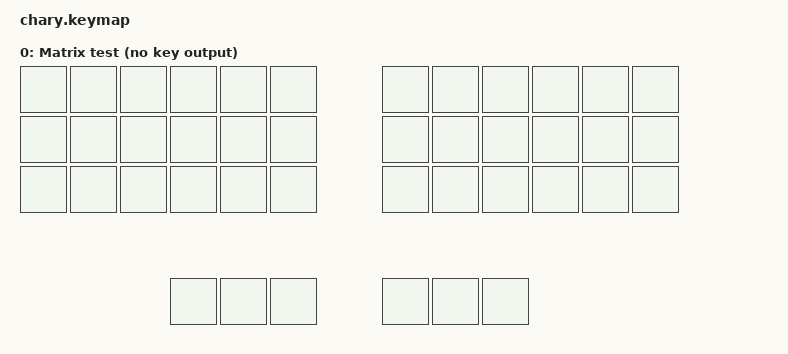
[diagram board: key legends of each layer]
#include <behaviors.dtsi>

/* This keymap is applied after the normal shield has defined these nodes. */
&spi0 { status = "disabled"; };
&trackball { status = "disabled"; };
&left_trackball_split { status = "disabled"; };
&left_trackball_listener { status = "disabled"; };
&right_trackball_listener { status = "disabled"; };
&zip_temp_layer { status = "disabled"; };

/ {
    keymap {
        compatible = "zmk,keymap";

        matrix_test {
            display-name = "Matrix test (no key output)";
            bindings = <
                &none &none &none &none &none &none    &none &none &none &none &none &none
                &none &none &none &none &none &none    &none &none &none &none &none &none
                &none &none &none &none &none &none    &none &none &none &none &none &none
                                  &none &none &none    &none &none &none
            >;
        };
    };
};
